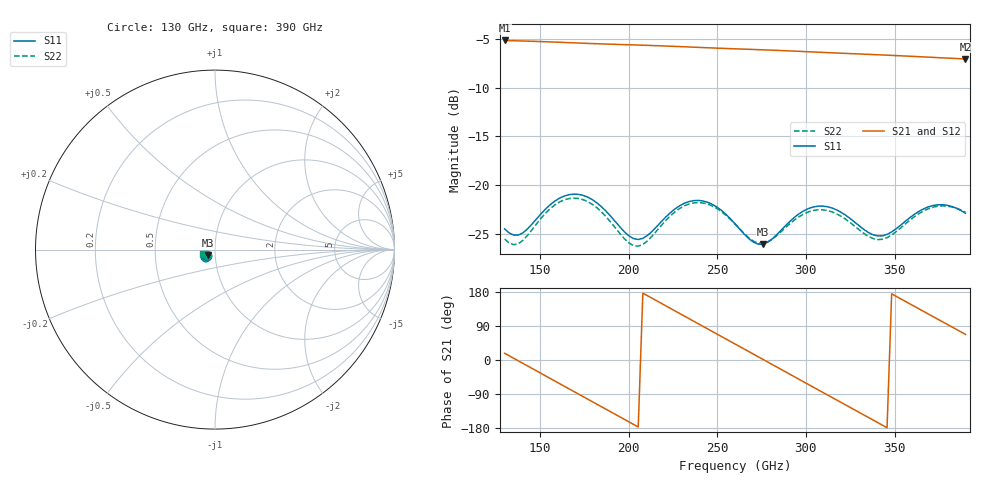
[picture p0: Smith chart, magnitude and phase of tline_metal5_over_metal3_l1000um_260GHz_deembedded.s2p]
! Created with skrf 2.0.1 (http://scikit-rf.org).
# GHz S DB R 50.0
!freq dBS11 angS11 dBS21 angS21 dBS12 angS12 dBS22 angS22
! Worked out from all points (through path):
!   101 points, 130 GHz to 390 GHz, reference 50 ohm
!   highest |S21| = -5.16 dB at 130 GHz (marker M1); lowest = -7.1 dB at 390 GHz (marker M2)
!   group delay of S21, straight-line fit = 7.16 ps
!   lowest |S11| = -26.1 dB at 275.6 GHz (marker M3), VSWR 1.10, Z = 46.1 - j2.81 ohm
!   |S11| at or under -10 dB: start of sweep to end of sweep
!   |S22| runs from -26.3 to -21.3 dB; largest |S21 - S12| = 8.3e-13
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130  -24.50 -141.6  -5.16 17.8  -5.16 17.8  -25.54 -143.4
137.8  -25.12 -129.7  -5.20 -2.3  -5.20 -2.3  -26.01 -129.5
148.2  -23.43 -120.1  -5.26 -29.2  -5.26 -29.2  -23.93 -120.3
161.2  -21.32 -127.7  -5.34 -62.8  -5.34 -62.8  -21.71 -129.6
174.2  -21.05 -142.6  -5.44 -96.4  -5.44 -96.4  -21.49 -145.8
184.6  -22.21 -152.5  -5.51 -123.2  -5.51 -123.2  -22.74 -156.3
197.6  -24.79 -152.0  -5.58 -156.7  -5.58 -156.7  -25.51 -155.4
205.4  -25.58 -141.4  -5.63 -176.8  -5.63 -176.8  -26.27 -143.6
218.4  -23.75 -129.2  -5.71 149.6  -5.71 149.6  -24.14 -131.3
228.8  -22.12 -133.8  -5.79 122.7  -5.79 122.7  -22.39 -136.8
239.2  -21.57 -144.0  -5.87 95.9  -5.87 95.9  -21.79 -147.5
249.6  -22.23 -154.0  -5.94 69.1  -5.94 69.1  -22.38 -158.1
260  -23.97 -158.5  -6.01 42.3  -6.01 42.3  -24.00 -163.3
275.6  -26.07 -142.4  -6.12 2.1  -6.12 2.1  -25.99 -150.0
288.6  -24.15 -130.6  -6.21 -31.5  -6.21 -31.5  -24.34 -139.6
304.2  -22.25 -138.7  -6.34 -71.7  -6.34 -71.7  -22.60 -147.5
322.4  -23.09 -151.8  -6.49 -118.5  -6.49 -118.5  -23.50 -160.4
335.4  -24.87 -148.9  -6.58 -152.0  -6.58 -152.0  -25.28 -157.3
348.4  -24.80 -135.2  -6.69 174.6  -6.69 174.6  -25.12 -143.6
358.8  -23.32 -132.0  -6.78 147.8  -6.78 147.8  -23.58 -140.5
371.8  -22.09 -138.8  -6.89 114.4  -6.89 114.4  -22.26 -147.4
390  -22.89 -151.2  -7.05 67.7  -7.05 67.7  -22.78 -160.0
